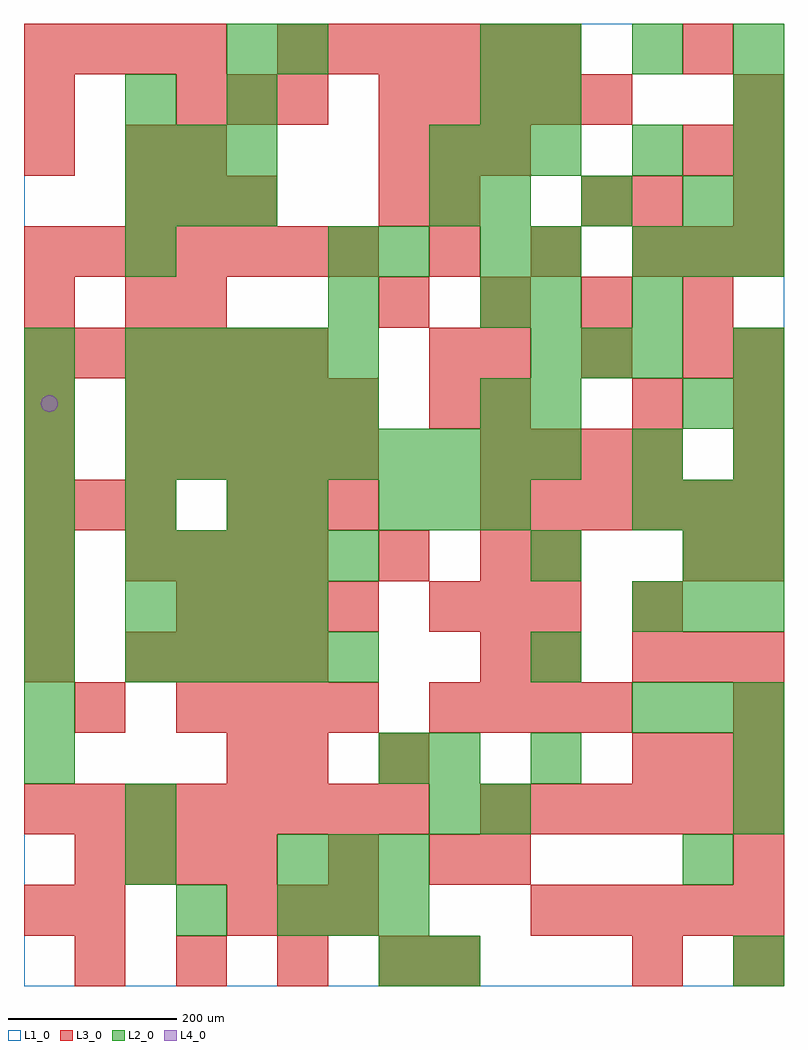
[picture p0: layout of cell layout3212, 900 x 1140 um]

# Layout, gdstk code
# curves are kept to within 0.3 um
import gdstk
lib = gdstk.Library(unit=1e-6, precision=1e-09)
def R(c, l, rs):  # rectangles x0, y0, x1, y1
    for r in rs: c.add(gdstk.rectangle(r[:2], r[2:], *l))
def A(c, l, x, y, w, h, nx, ny, dx, dy):  # array of equal rectangles
    R(c, l, [(x+i*dx, y+j*dy, x+i*dx+w, y+j*dy+h) for i in range(nx) for j in range(ny)])
def P(c, l, *ps):  # polygons
    for p in ps: c.add(gdstk.Polygon(p, *l))
L1_0 = (1, 0)
L2_0 = (2, 0)
L3_0 = (3, 0)
L4_0 = (4, 0)

layout3212 = lib.new_cell('layout3212')
R(layout3212, L1_0, [(0,0,900,1140)])
A(layout3212, L2_0, 300, 60, 60, 60, 3, 2, 60, 60)
A(layout3212, L2_0, 0, 240, 60, 60, 1, 5, 0, 60)
A(layout3212, L2_0, 600, 240, 60, 60, 1, 3, 0, 120)
A(layout3212, L2_0, 720, 300, 60, 60, 3, 3, 60, 120)
A(layout3212, L2_0, 120, 360, 60, 60, 5, 2, 60, 120)
A(layout3212, L2_0, 120, 420, 60, 60, 4, 1, 60, 0)
A(layout3212, L2_0, 0, 540, 60, 60, 3, 1, 120, 0)
A(layout3212, L2_0, 420, 540, 60, 60, 3, 1, 60, 0)
A(layout3212, L2_0, 0, 600, 60, 60, 1, 3, 0, 60)
A(layout3212, L2_0, 120, 600, 60, 60, 9, 1, 60, 0)
A(layout3212, L2_0, 720, 600, 60, 60, 1, 3, 0, 180)
A(layout3212, L2_0, 840, 600, 60, 60, 1, 3, 0, 60)
A(layout3212, L2_0, 120, 660, 60, 60, 5, 2, 60, 60)
A(layout3212, L2_0, 600, 720, 60, 60, 3, 1, 60, 0)
A(layout3212, L2_0, 720, 840, 60, 60, 3, 1, 60, 0)
A(layout3212, L2_0, 120, 900, 60, 60, 3, 2, 60, 60)
A(layout3212, L2_0, 540, 900, 60, 60, 3, 1, 120, 0)
A(layout3212, L2_0, 840, 900, 60, 60, 1, 3, 0, 60)
A(layout3212, L2_0, 480, 960, 60, 60, 3, 1, 60, 0)
A(layout3212, L2_0, 600, 1080, 60, 60, 3, 1, 120, 0)
R(layout3212, L2_0, [(420,0,480,60), (480,0,540,60), (840,0,900,60), (180,60,240,120), (120,120,180,180), (780,120,840,180), (120,180,180,240), (480,180,540,240), (540,180,600,240), (840,180,900,240), (420,240,480,300), (480,240,540,300), (840,240,900,300), (780,480,840,540), (840,480,900,540), (300,540,360,600), (540,660,600,720), (600,660,660,720), (780,660,840,720), (360,780,420,840), (540,780,600,840), (600,780,660,840), (120,840,180,900), (360,840,420,900), (420,840,480,900), (540,840,600,900), (600,840,660,900), (480,900,540,960), (120,1020,180,1080), (240,1020,300,1080), (540,1020,600,1080), (600,1020,660,1080), (240,1080,300,1140), (300,1080,360,1140), (540,1080,600,1140)])
A(layout3212, L3_0, 60, 0, 60, 60, 4, 1, 120, 0)
A(layout3212, L3_0, 240, 60, 60, 60, 3, 2, 60, 480)
A(layout3212, L3_0, 600, 60, 60, 60, 5, 1, 60, 0)
A(layout3212, L3_0, 60, 120, 60, 60, 4, 1, 60, 0)
A(layout3212, L3_0, 840, 120, 60, 60, 1, 3, 0, 180)
A(layout3212, L3_0, 0, 180, 60, 60, 8, 1, 60, 0)
A(layout3212, L3_0, 540, 180, 60, 60, 6, 2, 60, 360)
A(layout3212, L3_0, 720, 240, 60, 60, 3, 2, 60, 120)
A(layout3212, L3_0, 180, 300, 60, 60, 4, 2, 60, 120)
A(layout3212, L3_0, 480, 300, 60, 60, 4, 1, 60, 0)
A(layout3212, L3_0, 0, 360, 60, 60, 1, 3, 0, 60)
A(layout3212, L3_0, 120, 360, 60, 60, 4, 2, 60, 120)
A(layout3212, L3_0, 480, 420, 60, 60, 3, 1, 60, 0)
A(layout3212, L3_0, 720, 420, 60, 60, 1, 3, 0, 240)
A(layout3212, L3_0, 0, 540, 60, 60, 3, 1, 60, 0)
A(layout3212, L3_0, 120, 600, 60, 60, 5, 2, 60, 60)
A(layout3212, L3_0, 540, 600, 60, 60, 4, 1, 60, 0)
A(layout3212, L3_0, 840, 600, 60, 60, 1, 3, 0, 60)
A(layout3212, L3_0, 0, 720, 60, 60, 6, 1, 60, 0)
A(layout3212, L3_0, 540, 720, 60, 60, 3, 1, 120, 0)
A(layout3212, L3_0, 420, 780, 60, 60, 4, 1, 120, 0)
A(layout3212, L3_0, 0, 840, 60, 60, 7, 1, 60, 0)
A(layout3212, L3_0, 480, 840, 60, 60, 3, 1, 120, 0)
A(layout3212, L3_0, 780, 840, 60, 60, 1, 3, 0, 120)
A(layout3212, L3_0, 840, 840, 60, 60, 1, 4, 0, 60)
A(layout3212, L3_0, 120, 900, 60, 60, 3, 1, 60, 0)
A(layout3212, L3_0, 420, 960, 60, 60, 3, 1, 60, 0)
A(layout3212, L3_0, 180, 1020, 60, 60, 3, 1, 60, 0)
A(layout3212, L3_0, 420, 1020, 60, 60, 5, 1, 60, 0)
A(layout3212, L3_0, 0, 1080, 60, 60, 4, 1, 60, 0)
A(layout3212, L3_0, 300, 1080, 60, 60, 6, 1, 60, 0)
R(layout3212, L3_0, [(480,0,540,60), (720,0,780,60), (840,0,900,60), (0,60,60,120), (60,60,120,120), (360,120,420,180), (480,120,540,180), (540,120,600,180), (240,240,300,300), (300,240,360,300), (420,240,480,300), (60,300,120,360), (540,360,600,420), (600,360,660,420), (420,480,480,540), (540,480,600,540), (600,480,660,540), (780,480,840,540), (0,600,60,660), (0,660,60,720), (480,660,540,720), (540,660,600,720), (480,720,540,780), (0,780,60,840), (120,780,180,840), (180,780,240,840), (420,900,480,960), (480,900,540,960), (660,900,720,960), (0,960,60,1020), (120,960,180,1020), (180,960,240,1020), (0,1020,60,1080)])
P(layout3212, L4_0, [(40,690),(39.239,693.827),(37.071,697.071),(33.827,699.239),(30,700),(26.173,699.239),(22.929,697.071),(20.761,693.827),(20,690),(20.761,686.173),(22.929,682.929),(26.173,680.761),(30,680),(33.827,680.761),(37.071,682.929),(39.239,686.173)])

lib.write_gds('layout3212.gds')
